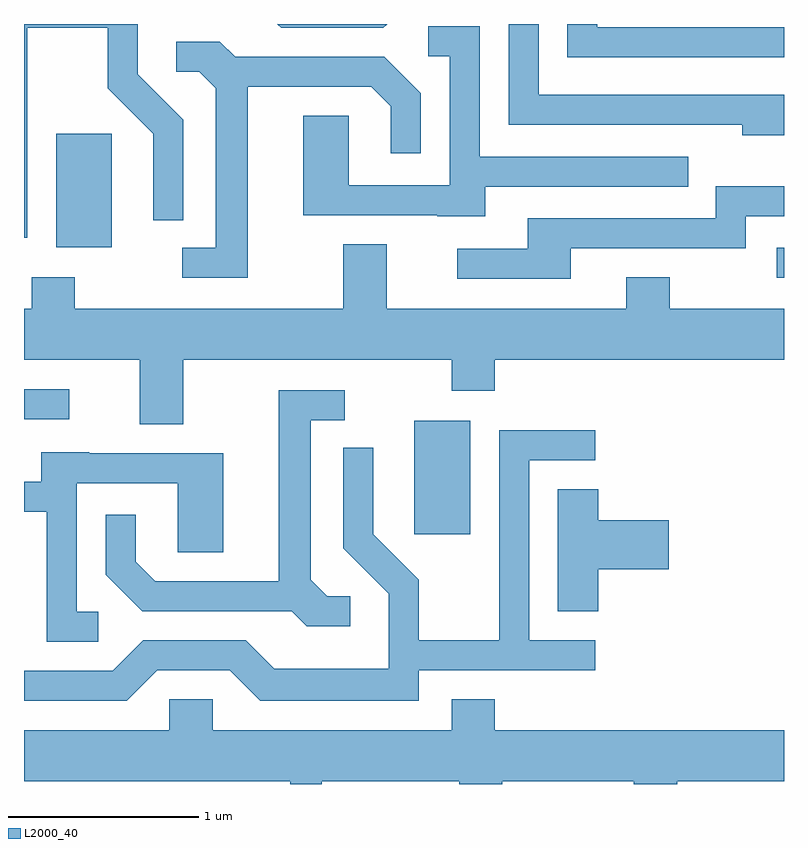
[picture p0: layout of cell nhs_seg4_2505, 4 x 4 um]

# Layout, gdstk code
import gdstk
lib = gdstk.Library(unit=1e-6, precision=1e-09)
def R(c, l, rs):  # rectangles x0, y0, x1, y1
    for r in rs: c.add(gdstk.rectangle(r[:2], r[2:], *l))
def P(c, l, *ps):  # polygons
    for p in ps: c.add(gdstk.Polygon(p, *l))
L2000_40 = (2000, 40)

nhs_seg4_2505 = lib.new_cell('nhs_seg4_2505')
R(nhs_seg4_2505, L2000_40, [(259.666,1369.296,259.959,1369.894), (257.611,1369.901,257.848,1370.059), (261.573,1370.646,261.611,1370.804), (257.781,1370.806,258.074,1371.404)])
P(nhs_seg4_2505, L2000_40, [(261.611,1371.609),(260.319,1371.609),(260.319,1371.982),(260.161,1371.982),(260.161,1371.451),(261.391,1371.451),(261.391,1371.396),(261.611,1371.396)],
  [(259.523,1371.982),(258.943,1371.982),(258.964,1371.961),(259.502,1371.961)],
  [(257.629,1371.961),(258.051,1371.961),(258.051,1371.644),(258.291,1371.404),(258.291,1370.948),(258.449,1370.948),(258.449,1371.477),(258.209,1371.717),(258.209,1371.982),(257.611,1371.982),(257.611,1370.856),(257.629,1370.856)],
  [(261.611,1371.964),(260.629,1371.964),(260.629,1371.982),(260.471,1371.982),(260.471,1371.806),(261.611,1371.806)],
  [(260.039,1371.126),(261.108,1371.126),(261.108,1371.284),(260.009,1371.284),(260.009,1371.969),(259.738,1371.969),(259.738,1371.811),(259.851,1371.811),(259.851,1371.134),(259.319,1371.134),(259.319,1371.499),(259.081,1371.499),(259.081,1370.976),(259.785,1370.976),(259.785,1370.971),(260.039,1370.971)],
  [(258.789,1371.651),(259.439,1371.651),(259.541,1371.549),(259.541,1371.303),(259.699,1371.303),(259.699,1371.617),(259.507,1371.809),(258.722,1371.809),(258.642,1371.889),(258.413,1371.889),(258.413,1371.731),(258.534,1371.731),(258.621,1371.644),(258.621,1370.804),(258.443,1370.804),(258.443,1370.646),(258.789,1370.646)],
  [(260.489,1370.801),(261.409,1370.801),(261.409,1370.971),(261.611,1370.971),(261.611,1371.129),(261.251,1371.129),(261.251,1370.959),(260.261,1370.959),(260.261,1370.799),(259.892,1370.799),(259.892,1370.641),(260.489,1370.641)],
  [(258.449,1370.216),(259.861,1370.216),(259.861,1370.051),(260.089,1370.051),(260.089,1370.216),(261.611,1370.216),(261.611,1370.484),(261.009,1370.484),(261.009,1370.649),(260.781,1370.649),(260.781,1370.484),(259.519,1370.484),(259.519,1370.824),(259.291,1370.824),(259.291,1370.484),(257.879,1370.484),(257.879,1370.649),(257.651,1370.649),(257.651,1370.484),(257.611,1370.484),(257.611,1370.216),(258.221,1370.216),(258.221,1369.876),(258.449,1369.876)],
  [(259.328,1368.969),(259.207,1368.969),(259.119,1369.057),(259.119,1369.896),(259.298,1369.896),(259.298,1370.054),(258.951,1370.054),(258.951,1369.049),(258.302,1369.049),(258.199,1369.152),(258.199,1369.398),(258.041,1369.398),(258.041,1369.084),(258.234,1368.891),(259.019,1368.891),(259.099,1368.811),(259.328,1368.811)],
  [(258.312,1368.581),(258.694,1368.581),(258.854,1368.421),(259.689,1368.421),(259.689,1368.581),(260.618,1368.581),(260.618,1368.739),(260.269,1368.739),(260.269,1369.686),(260.618,1369.686),(260.618,1369.844),(260.111,1369.844),(260.111,1368.739),(259.689,1368.739),(259.689,1369.057),(259.449,1369.297),(259.449,1369.753),(259.291,1369.753),(259.291,1369.224),(259.531,1368.984),(259.531,1368.589),(258.927,1368.589),(258.777,1368.739),(258.239,1368.739),(258.079,1368.579),(257.611,1368.579),(257.611,1368.421),(258.152,1368.421)],
  [(258.003,1368.889),(257.889,1368.889),(257.889,1369.566),(258.421,1369.566),(258.421,1369.201),(258.659,1369.201),(258.659,1369.724),(257.955,1369.724),(257.955,1369.729),(257.701,1369.729),(257.701,1369.574),(257.611,1369.574),(257.611,1369.416),(257.731,1369.416),(257.731,1368.731),(258.003,1368.731)],
  [(260.634,1369.111),(261.004,1369.111),(261.004,1369.369),(260.634,1369.369),(260.634,1369.534),(260.421,1369.534),(260.421,1368.891),(260.634,1368.891)],
  [(259.179,1367.996),(259.901,1367.996),(259.901,1367.982),(260.129,1367.982),(260.129,1367.996),(260.821,1367.996),(260.821,1367.982),(261.049,1367.982),(261.049,1367.996),(261.611,1367.996),(261.611,1368.264),(260.089,1368.264),(260.089,1368.429),(259.861,1368.429),(259.861,1368.264),(258.604,1368.264),(258.604,1368.429),(258.376,1368.429),(258.376,1368.264),(257.611,1368.264),(257.611,1367.996),(259.011,1367.996),(259.011,1367.982),(259.179,1367.982)])

lib.write_gds('nhs_seg4_2505.gds')
